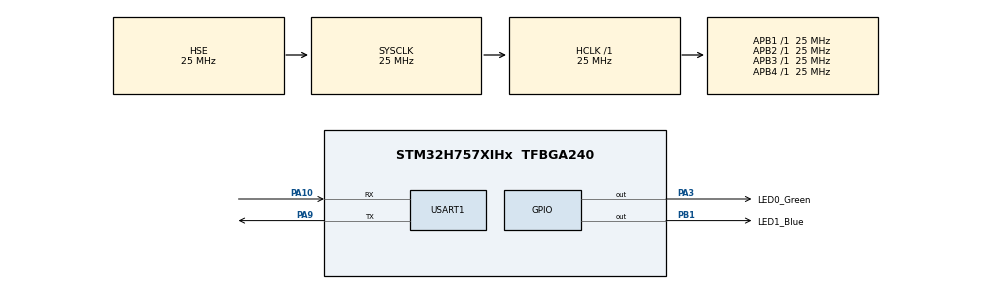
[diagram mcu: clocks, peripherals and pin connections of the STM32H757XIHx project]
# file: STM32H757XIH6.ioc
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CORTEX_M7.default_mode_Activation=1
CortexM4.IPs=CORTEX_M4\:I,FATFS_M4\:I,FREERTOS_M4\:I,IWDG2\:I,OPENAMP_M4\:I,PDM2PCM_M4\:I,PWR,RCC,RESMGR_UTILITY,SYS_M4\:I,USB_DEVICE_M4\:I,USB_HOST_M4\:I,VREFBUF,WWDG2\:I,GPIO,DMA,BDMA,MDMA,NVIC2\:I,DEBUG
CortexM7.IPs=CORTEX_M7\:I,FATFS_M7\:I,FREERTOS_M7\:I,IWDG1\:I,OPENAMP_M7\:I,PDM2PCM_M7\:I,PWR\:I,RCC\:I,RESMGR_UTILITY\:I,SYS\:I,USB_DEVICE_M7\:I,USB_HOST_M7\:I,VREFBUF\:I,WWDG1\:I,GPIO\:I,DMA\:I,BDMA\:I,MDMA\:I,NVIC1\:I,USART1\:I,DEBUG\:I
CortexM7.Pins=PB1,PA3
Dma.Request0=USART1_RX
Dma.Request1=USART1_TX
Dma.USART1_RX.0.Direction=DMA_PERIPH_TO_MEMORY
Dma.USART1_RX.0.EventEnable=DISABLE
Dma.USART1_RX.0.FIFOMode=DMA_FIFOMODE_DISABLE
Dma.USART1_RX.0.Instance=DMA1_Stream0
Dma.USART1_RX.0.MemDataAlignment=DMA_MDATAALIGN_BYTE
Dma.USART1_RX.0.MemInc=DMA_MINC_ENABLE
Dma.USART1_RX.0.Mode=DMA_NORMAL
Dma.USART1_RX.0.PeriphDataAlignment=DMA_PDATAALIGN_BYTE
Dma.USART1_RX.0.PeriphInc=DMA_PINC_DISABLE
Dma.USART1_RX.0.Polarity=HAL_DMAMUX_REQ_GEN_RISING
Dma.USART1_RX.0.Priority=DMA_PRIORITY_LOW
Dma.USART1_RX.0.RequestNumber=1
Dma.USART1_RX.0.SignalID=NONE
Dma.USART1_RX.0.SyncEnable=DISABLE
Dma.USART1_RX.0.SyncPolarity=HAL_DMAMUX_SYNC_NO_EVENT
Dma.USART1_RX.0.SyncRequestNumber=1
Dma.USART1_RX.0.SyncSignalID=NONE
Dma.USART1_TX.1.Direction=DMA_MEMORY_TO_PERIPH
Dma.USART1_TX.1.EventEnable=DISABLE
Dma.USART1_TX.1.FIFOMode=DMA_FIFOMODE_DISABLE
Dma.USART1_TX.1.Instance=DMA1_Stream1
Dma.USART1_TX.1.MemDataAlignment=DMA_MDATAALIGN_BYTE
Dma.USART1_TX.1.MemInc=DMA_MINC_ENABLE
Dma.USART1_TX.1.Mode=DMA_NORMAL
Dma.USART1_TX.1.PeriphDataAlignment=DMA_PDATAALIGN_BYTE
Dma.USART1_TX.1.PeriphInc=DMA_PINC_DISABLE
Dma.USART1_TX.1.Polarity=HAL_DMAMUX_REQ_GEN_RISING
Dma.USART1_TX.1.Priority=DMA_PRIORITY_LOW
Dma.USART1_TX.1.RequestNumber=1
Dma.USART1_TX.1.SignalID=NONE
Dma.USART1_TX.1.SyncEnable=DISABLE
Dma.USART1_TX.1.SyncPolarity=HAL_DMAMUX_SYNC_NO_EVENT
Dma.USART1_TX.1.SyncRequestNumber=1
Dma.USART1_TX.1.SyncSignalID=NONE
Mcu.Family=STM32H7
Mcu.Name=STM32H757XIHx
Mcu.Package=TFBGA240
NVIC1.DMA1_Stream0_IRQn=true\:0\:0\:false\:false\:true\:false\:true\:true
NVIC1.DMA1_Stream1_IRQn=true\:0\:0\:false\:false\:true\:false\:true\:true
NVIC1.PriorityGroup=NVIC_PRIORITYGROUP_4
NVIC1.USART1_IRQn=true\:0\:0\:false\:false\:true\:true\:true\:true
NVIC2.PriorityGroup=NVIC_PRIORITYGROUP_4
PA10.Mode=Asynchronous
PA10.PinAttribute=CortexM7
PA10.Signal=USART1_RX
PA13\ (JTMS/SWDIO).Mode=Serial_Wire
PA13\ (JTMS/SWDIO).PinAttribute=CortexM7
PA13\ (JTMS/SWDIO).Signal=DEBUG_JTMS-SWDIO
PA14\ (JTCK/SWCLK).Mode=Serial_Wire
PA14\ (JTCK/SWCLK).PinAttribute=CortexM7
PA14\ (JTCK/SWCLK).Signal=DEBUG_JTCK-SWCLK
PA3.GPIO_Label=LED0_Green
PA3.GPIO_PuPd=GPIO_NOPULL
PA3.PinAttribute=CortexM7
PA3.PinState=GPIO_PIN_SET
PA3.Signal=GPIO_Output
PA9.Mode=Asynchronous
PA9.PinAttribute=CortexM7
PA9.Signal=USART1_TX
PB1.GPIO_Label=LED1_Blue
PB1.GPIO_PuPd=GPIO_NOPULL
PB1.PinAttribute=CortexM7
PB1.PinState=GPIO_PIN_SET
PB1.Signal=GPIO_Output
PC14-OSC32_IN\ (OSC32_IN).Mode=LSE-External-Oscillator
PC14-OSC32_IN\ (OSC32_IN).PinAttribute=Free
PC14-OSC32_IN\ (OSC32_IN).Signal=RCC_OSC32_IN
PC15-OSC32_OUT\ (OSC32_OUT).Mode=LSE-External-Oscillator
PC15-OSC32_OUT\ (OSC32_OUT).PinAttribute=Free
PC15-OSC32_OUT\ (OSC32_OUT).Signal=RCC_OSC32_OUT
PH0-OSC_IN\ (PH0).Mode=HSE-External-Clock-Source
PH0-OSC_IN\ (PH0).PinAttribute=Free
PH0-OSC_IN\ (PH0).Signal=RCC_OSC_IN
ProjectManager.HeapSize=M4-0x200,M7-0x200
ProjectManager.StackSize=M4-0x400,M7-0x400
ProjectManager.TargetToolchain=Makefile
RCC.ADCFreq_Value=50390625
RCC.APB1Freq_Value=25000000
RCC.APB2Freq_Value=25000000
RCC.APB3Freq_Value=25000000
RCC.APB4Freq_Value=25000000
RCC.CortexFreq_Value=25000000
RCC.HCLKFreq_Value=25000000
RCC.PLLSourceVirtual=RCC_PLLSOURCE_HSE
RCC.SYSCLKFreq_VALUE=25000000
RCC.SYSCLKSource=RCC_SYSCLKSOURCE_HSE
RCC.SupplySource=PWR_LDO_SUPPLY
RCC.USBFreq_Value=50390625
SYS.userName=SYS_M7
USART1.VirtualMode-Asynchronous=VM_ASYNC
VP_SYS_M4_VS_Systick.Mode=SysTick
board=custom

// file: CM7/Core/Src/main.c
/* USER CODE BEGIN Header */
/**
  ******************************************************************************
  * @file           : main.c
  * @brief          : Main program body
  ******************************************************************************
  * @attention
  *
  * Copyright (c) 2026 STMicroelectronics.
  * All rights reserved.
  *
  * This software is licensed under terms that can be found in the LICENSE file
  * in the root directory of this software component.
  * If no LICENSE file comes with this software, it is provided AS-IS.
  *
  ******************************************************************************
  */
/* USER CODE END Header */
#include "main.h"
#include "dma.h"
#include "usart.h"
#include "gpio.h"

/* USER CODE BEGIN Includes */
#include <stdio.h>
#include <string.h>
/* USER CODE END Includes */

/* USER CODE BEGIN PD */

/* DUAL_CORE_BOOT_SYNC_SEQUENCE: Define for dual core boot synchronization    */
/*                             demonstration code based on hardware semaphore */
/* This define is present in both CM7/CM4 projects                            */
/* To comment when developping/debugging on a single core                     */
#define DUAL_CORE_BOOT_SYNC_SEQUENCE

#if defined(DUAL_CORE_BOOT_SYNC_SEQUENCE)
#ifndef HSEM_ID_0
#define HSEM_ID_0 (0U) /* HW semaphore 0*/
#endif
#endif /* DUAL_CORE_BOOT_SYNC_SEQUENCE */

/* USER CODE END PD */

void SystemClock_Config(void);
static void MPU_Config(void);

/* USER CODE BEGIN 0 */
#define UART1_RX_MAX_BYTES 100U

__attribute__((section(".dma_buffer"), aligned(32))) static uint64_t rx_buf[16];
static void UART1_InvalidateRxBufferCache(void)
{
    if ((SCB->CCR & SCB_CCR_DC_Msk) != 0U)
    {
        SCB_InvalidateDCache_by_Addr(rx_buf, (int32_t)sizeof(rx_buf));
    }
}

static void UART1_StartReceiveToIdle(void)
{
    UART1_InvalidateRxBufferCache();

    if (HAL_UARTEx_ReceiveToIdle_DMA(&huart1, (uint8_t *)rx_buf,
                                    UART1_RX_MAX_BYTES) != HAL_OK)
    {
        Error_Handler();
    }

    __HAL_DMA_DISABLE_IT(huart1.hdmarx, DMA_IT_HT);
}

void HAL_UARTEx_RxEventCallback(UART_HandleTypeDef *huart, uint16_t Size)
{
    if (huart != &huart1 ||
        HAL_UARTEx_GetRxEventType(huart) == HAL_UART_RXEVENT_HT)
    {
        return;
    }

    char cmd[UART1_RX_MAX_BYTES + 1U];
    size_t length = Size;

    if (length > UART1_RX_MAX_BYTES)
    {
        length = UART1_RX_MAX_BYTES;
    }

    UART1_InvalidateRxBufferCache();
    memcpy(cmd, rx_buf, length);
    cmd[length] = '\0';

    UART1_StartReceiveToIdle();

    if (strstr(cmd, "LED ON") != NULL)
    {
        HAL_GPIO_WritePin(LED1_Blue_GPIO_Port, LED1_Blue_Pin, GPIO_PIN_RESET);
    }
    else if (strstr(cmd, "LED OFF") != NULL)
    {
        HAL_GPIO_WritePin(LED1_Blue_GPIO_Port, LED1_Blue_Pin, GPIO_PIN_SET);
    }
}
/* USER CODE END 0 */

int main(void)
{

/* USER CODE BEGIN Boot_Mode_Sequence_0 */
#if defined(DUAL_CORE_BOOT_SYNC_SEQUENCE)
  int32_t timeout;
#endif /* DUAL_CORE_BOOT_SYNC_SEQUENCE */
/* USER CODE END Boot_Mode_Sequence_0 */

  /* MPU Configuration--------------------------------------------------------*/
  MPU_Config();

/* USER CODE BEGIN Boot_Mode_Sequence_1 */
#if defined(DUAL_CORE_BOOT_SYNC_SEQUENCE)
  /* Wait until CPU2 boots and enters in stop mode or timeout*/
  timeout = 0xFFFF;
  while((__HAL_RCC_GET_FLAG(RCC_FLAG_D2CKRDY) != RESET) && (timeout-- > 0));
  if ( timeout < 0 )
  {
  Error_Handler();
  }
#endif /* DUAL_CORE_BOOT_SYNC_SEQUENCE */
/* USER CODE END Boot_Mode_Sequence_1 */
  /* MCU Configuration--------------------------------------------------------*/

  /* Reset of all peripherals, Initializes the Flash interface and the Systick. */
  HAL_Init();

  /* Configure the system clock */
  SystemClock_Config();
/* USER CODE BEGIN Boot_Mode_Sequence_2 */
#if defined(DUAL_CORE_BOOT_SYNC_SEQUENCE)
/* When system initialization is finished, Cortex-M7 will release Cortex-M4 by means of
HSEM notification */
/*HW semaphore Clock enable*/
__HAL_RCC_HSEM_CLK_ENABLE();
/*Take HSEM */
HAL_HSEM_FastTake(HSEM_ID_0);
/*Release HSEM in order to notify the CPU2(CM4)*/
HAL_HSEM_Release(HSEM_ID_0,0);
/* wait until CPU2 wakes up from stop mode */
timeout = 0xFFFF;
while((__HAL_RCC_GET_FLAG(RCC_FLAG_D2CKRDY) == RESET) && (timeout-- > 0));
if ( timeout < 0 )
{
Error_Handler();
}
#endif /* DUAL_CORE_BOOT_SYNC_SEQUENCE */
/* USER CODE END Boot_Mode_Sequence_2 */

  /* Initialize all configured peripherals */
  MX_GPIO_Init();
  MX_DMA_Init();
  MX_USART1_UART_Init();
  /* USER CODE BEGIN 2 */
  volatile uint64_t *words = rx_buf;

  for (size_t i = 0; i < sizeof(rx_buf) / sizeof(rx_buf[0]); ++i)
  {
      words[i] = 0U;
  }

  __DSB();
  UART1_StartReceiveToIdle();
  /* USER CODE END 2 */

  /* Infinite loop */
  while (1)
  {

    /* USER CODE BEGIN 3 */
    printf("[CM7] System Running...\r\n");
    HAL_Delay(1000);
  }
  /* USER CODE END 3 */
}

void SystemClock_Config(void)
{
  RCC_OscInitTypeDef RCC_OscInitStruct = {0};
  RCC_ClkInitTypeDef RCC_ClkInitStruct = {0};

  /** Supply configuration update enable
  */
  HAL_PWREx_ConfigSupply(PWR_LDO_SUPPLY);

  /** Configure the main internal regulator output voltage
  */
  __HAL_PWR_VOLTAGESCALING_CONFIG(PWR_REGULATOR_VOLTAGE_SCALE3);

  while(!__HAL_PWR_GET_FLAG(PWR_FLAG_VOSRDY)) {}

  /** Initializes the RCC Oscillators according to the specified parameters
  * in the RCC_OscInitTypeDef structure.
  */
  RCC_OscInitStruct.OscillatorType = RCC_OSCILLATORTYPE_HSE;
  RCC_OscInitStruct.HSEState = RCC_HSE_BYPASS;
  RCC_OscInitStruct.PLL.PLLState = RCC_PLL_NONE;
  if (HAL_RCC_OscConfig(&RCC_OscInitStruct) != HAL_OK)
  {
    Error_Handler();
  }

  /** Initializes the CPU, AHB and APB buses clocks
  */
  RCC_ClkInitStruct.ClockType = RCC_CLOCKTYPE_HCLK|RCC_CLOCKTYPE_SYSCLK
                              |RCC_CLOCKTYPE_PCLK1|RCC_CLOCKTYPE_PCLK2
                              |RCC_CLOCKTYPE_D3PCLK1|RCC_CLOCKTYPE_D1PCLK1;
  RCC_ClkInitStruct.SYSCLKSource = RCC_SYSCLKSOURCE_HSE;
  RCC_ClkInitStruct.SYSCLKDivider = RCC_SYSCLK_DIV1;
  RCC_ClkInitStruct.AHBCLKDivider = RCC_HCLK_DIV1;
  RCC_ClkInitStruct.APB3CLKDivider = RCC_APB3_DIV1;
  RCC_ClkInitStruct.APB1CLKDivider = RCC_APB1_DIV1;
  RCC_ClkInitStruct.APB2CLKDivider = RCC_APB2_DIV1;
  RCC_ClkInitStruct.APB4CLKDivider = RCC_APB4_DIV1;

  if (HAL_RCC_ClockConfig(&RCC_ClkInitStruct, FLASH_LATENCY_0) != HAL_OK)
  {
    Error_Handler();
  }
}

 /* MPU Configuration */

void MPU_Config(void)
{
  MPU_Region_InitTypeDef MPU_InitStruct = {0};

  /* Disables the MPU */
  HAL_MPU_Disable();

  /** Initializes and configures the Region and the memory to be protected
  */
  MPU_InitStruct.Enable = MPU_REGION_ENABLE;
  MPU_InitStruct.Number = MPU_REGION_NUMBER0;
  MPU_InitStruct.BaseAddress = 0x0;
  MPU_InitStruct.Size = MPU_REGION_SIZE_4GB;
  MPU_InitStruct.SubRegionDisable = 0x87;
  MPU_InitStruct.TypeExtField = MPU_TEX_LEVEL0;
  MPU_InitStruct.AccessPermission = MPU_REGION_NO_ACCESS;
  MPU_InitStruct.DisableExec = MPU_INSTRUCTION_ACCESS_DISABLE;
  MPU_InitStruct.IsShareable = MPU_ACCESS_SHAREABLE;
  MPU_InitStruct.IsCacheable = MPU_ACCESS_NOT_CACHEABLE;
  MPU_InitStruct.IsBufferable = MPU_ACCESS_NOT_BUFFERABLE;

  HAL_MPU_ConfigRegion(&MPU_InitStruct);
  /* Enables the MPU */
  HAL_MPU_Enable(MPU_PRIVILEGED_DEFAULT);

}

void Error_Handler(void)
{
  __disable_irq();
  while (1)
  {
  }
}
